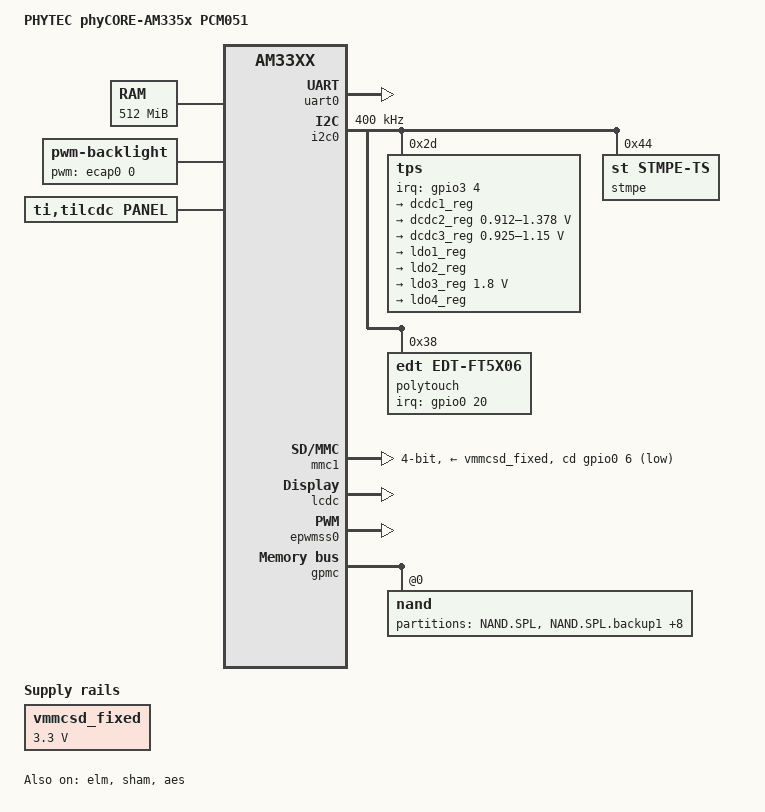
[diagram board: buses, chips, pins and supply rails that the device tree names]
/*
 * Copyright (C) 2015 PHTECH - http://www.phytec.com
 *
 * Copyright (C) 2012 Texas Instruments Incorporated - http://www.ti.com/
 *
 * This program is free software; you can redistribute it and/or modify
 * it under the terms of the GNU General Public License version 2 as
 * published by the Free Software Foundation.
 */
/dts-v1/;

#include "am33xx.dtsi"
#include <dt-bindings/interrupt-controller/irq.h>

/{
	model = "PHYTEC phyCORE-AM335x PCM051";
	compatible = "phytec,pcm051", "ti,am33xx";

	cpus {
		cpu@0 {
			cpu0-supply = <&dcdc2_reg>;
		};
	};

	memory {
		device_type = "memory";
		reg = <0x80000000 0x20000000>;	/* 512 MB */
	};

	vmmcsd_fixed: fixedregulator@0 {
		compatible = "regulator-fixed";
		regulator-name = "vmmcsd_fixed";
		regulator-min-microvolt = <3300000>;
		regulator-max-microvolt = <3300000>;
	};

	backlight {
		compatible = "pwm-backlight";
		pwms = <&ecap0 0 50000 0>;
		brightness-levels = <0 51 53 56 62 75 101 152 255>;
		default-brightness-level = <8>;
	};

	panel {
		compatible = "ti,tilcdc,panel";
		status = "okay";
		panel-info {
			ac-bias           = <255>;
			ac-bias-intrpt    = <0>;
			dma-burst-sz      = <16>;
			bpp               = <32>;
			fdd               = <0x80>;
			sync-edge         = <0>;
			sync-ctrl         = <1>;
			raster-order      = <0>;
			fifo-th           = <0>;
		};

		display-timings {
			800x480p62 {
				clock-frequency = <30000000>;
				hactive = <800>;
				vactive = <480>;
				hfront-porch = <39>;
				hback-porch = <39>;
				hsync-len = <47>;
				vback-porch = <29>;
				vfront-porch = <13>;
				vsync-len = <2>;
				hsync-active = <1>;
				vsync-active = <1>;
			};
		};
	};
};

&am33xx_pinmux {
        pinctrl-names = "default";

	i2c0_pins: pinmux_i2c0_pins {
		pinctrl-single,pins = <
			0x188 (PIN_INPUT_PULLUP | MUX_MODE0)    /* i2c0_sda.i2c0_sda */
			0x18c (PIN_INPUT_PULLUP | MUX_MODE0)    /* i2c0_scl.i2c0_scl */
		>;
	};

	uart0_pins: pinmux_uart0_pins {
		pinctrl-single,pins = <
			0x170 (PIN_INPUT_PULLUP | MUX_MODE0)    /* uart0_rxd.uart0_rxd */
			0x174 (PIN_OUTPUT_PULLDOWN | MUX_MODE0) /* uart0_txd.uart0_txd */
		>;
	};

	nandflash_pins_default: nandflash_pins_default {
		pinctrl-single,pins = <
			0x0 (PIN_INPUT_PULLUP | MUX_MODE0)      /* gpmc_ad0.gpmc_ad0 */
			0x4 (PIN_INPUT_PULLUP | MUX_MODE0)      /* gpmc_ad1.gpmc_ad1 */
			0x8 (PIN_INPUT_PULLUP | MUX_MODE0)      /* gpmc_ad2.gpmc_ad2 */
			0xc (PIN_INPUT_PULLUP | MUX_MODE0)      /* gpmc_ad3.gpmc_ad3 */
			0x10 (PIN_INPUT_PULLUP | MUX_MODE0)     /* gpmc_ad4.gpmc_ad4 */
			0x14 (PIN_INPUT_PULLUP | MUX_MODE0)     /* gpmc_ad5.gpmc_ad5 */
			0x18 (PIN_INPUT_PULLUP | MUX_MODE0)     /* gpmc_ad6.gpmc_ad6 */
			0x1c (PIN_INPUT_PULLUP | MUX_MODE0)     /* gpmc_ad7.gpmc_ad7 */
			0x70 (PIN_INPUT_PULLUP | MUX_MODE0)     /* gpmc_wait0.gpmc_wait0 */
		>;
	};

	nandflash_pins_sleep: nandflash_pins_sleep {
		pinctrl-single,pins = <
			0x0 (PIN_INPUT_PULLDOWN | MUX_MODE7)
			0x4 (PIN_INPUT_PULLDOWN | MUX_MODE7)
			0x8 (PIN_INPUT_PULLDOWN | MUX_MODE7)
			0xc (PIN_INPUT_PULLDOWN | MUX_MODE7)
			0x10 (PIN_INPUT_PULLDOWN | MUX_MODE7)
			0x14 (PIN_INPUT_PULLDOWN | MUX_MODE7)
			0x18 (PIN_INPUT_PULLDOWN | MUX_MODE7)
			0x1c (PIN_INPUT_PULLDOWN | MUX_MODE7)
			0x70 (PIN_INPUT_PULLDOWN | MUX_MODE7)
		>;
	};

        mmc1_pins_default: pinmux_mmc1_pins {
                pinctrl-single,pins = <
                        0x0F0 (PIN_INPUT_PULLUP | MUX_MODE0)    /* mmc0_dat3.mmc0_dat3 */
                        0x0F4 (PIN_INPUT_PULLUP | MUX_MODE0)    /* mmc0_dat2.mmc0_dat2 */
                        0x0F8 (PIN_INPUT_PULLUP | MUX_MODE0)    /* mmc0_dat1.mmc0_dat1 */
                        0x0FC (PIN_INPUT_PULLUP | MUX_MODE0)    /* mmc0_dat0.mmc0_dat0 */
                        0x100 (PIN_INPUT_PULLUP | MUX_MODE0)    /* mmc0_clk.mmc0_clk */
                        0x104 (PIN_INPUT_PULLUP | MUX_MODE0)    /* mmc0_cmd.mmc0_cmd */
                        0x160 (PIN_INPUT | MUX_MODE7)           /* spi0_cs1.gpio0_6 */
                >;
        };

        mmc1_pins_sleep: pinmux_mmc1_pins_sleep {
                pinctrl-single,pins = <
                        0x0F0 (PIN_INPUT_PULLDOWN | MUX_MODE7)
                        0x0F4 (PIN_INPUT_PULLDOWN | MUX_MODE7)
                        0x0F8 (PIN_INPUT_PULLDOWN | MUX_MODE7)
                        0x0FC (PIN_INPUT_PULLDOWN | MUX_MODE7)
                        0x100 (PIN_INPUT_PULLDOWN | MUX_MODE7)
                        0x104 (PIN_INPUT_PULLDOWN | MUX_MODE7)
                        0x1A0 (PIN_INPUT_PULLDOWN | MUX_MODE7)
                >;
        };


	ecap0_pins_default: backlight_pins {
		pinctrl-single,pins = <
			0x164 0x0	/* eCAP0_in_PWM0_out.eCAP0_in_PWM0_out MODE0 */
		>;
	};

	ecap0_pins_sleep: ecap0_pins_sleep {
		pinctrl-single,pins = <
			0x164  (PIN_INPUT_PULLDOWN | MUX_MODE7)	/* eCAP0_in_PWM0_out.eCAP0_in_PWM0_out */
		>;
	};

	lcd_pins_default: lcd_pins_default {
		pinctrl-single,pins = <
			0x20 0x01       /* gpmc_ad8.lcd_data16, OUTPUT | MODE1 */
			0x24 0x01       /* gpmc_ad9.lcd_data17, OUTPUT | MODE1 */
			0x28 0x01       /* gpmc_ad10.lcd_data18, OUTPUT | MODE1 */
			0x2c 0x01       /* gpmc_ad11.lcd_data19, OUTPUT | MODE1 */
			0x30 0x01       /* gpmc_ad12.lcd_data20, OUTPUT | MODE1 */
			0x34 0x01       /* gpmc_ad13.lcd_data21, OUTPUT | MODE1 */
			0x38 0x01       /* gpmc_ad14.lcd_data22, OUTPUT | MODE1 */
			0x3c 0x01       /* gpmc_ad15.lcd_data23, OUTPUT | MODE1 */
			0xa0 0x00       /* lcd_data0.lcd_data0, OUTPUT | MODE0 */
			0xa4 0x00       /* lcd_data1.lcd_data1, OUTPUT | MODE0 */
			0xa8 0x00       /* lcd_data2.lcd_data2, OUTPUT | MODE0 */
			0xac 0x00       /* lcd_data3.lcd_data3, OUTPUT | MODE0 */
			0xb0 0x00       /* lcd_data4.lcd_data4, OUTPUT | MODE0 */
			0xb4 0x00       /* lcd_data5.lcd_data5, OUTPUT | MODE0 */
			0xb8 0x00       /* lcd_data6.lcd_data6, OUTPUT | MODE0 */
			0xbc 0x00       /* lcd_data7.lcd_data7, OUTPUT | MODE0 */
			0xc0 0x00       /* lcd_data8.lcd_data8, OUTPUT | MODE0 */
			0xc4 0x00       /* lcd_data9.lcd_data9, OUTPUT | MODE0 */
			0xc8 0x00       /* lcd_data10.lcd_data10, OUTPUT | MODE0 */
			0xcc 0x00       /* lcd_data11.lcd_data11, OUTPUT | MODE0 */
			0xd0 0x00       /* lcd_data12.lcd_data12, OUTPUT | MODE0 */
			0xd4 0x00       /* lcd_data13.lcd_data13, OUTPUT | MODE0 */
			0xd8 0x00       /* lcd_data14.lcd_data14, OUTPUT | MODE0 */
			0xdc 0x00       /* lcd_data15.lcd_data15, OUTPUT | MODE0 */
			0xe0 0x00       /* lcd_vsync.lcd_vsync, OUTPUT | MODE0 */
			0xe4 0x00       /* lcd_hsync.lcd_hsync, OUTPUT | MODE0 */
			0xe8 0x00       /* lcd_pclk.lcd_pclk, OUTPUT | MODE0 */
			0xec 0x00       /* lcd_ac_bias_en.lcd_ac_bias_en, OUTPUT | MODE0 */
		>;
	};

	lcd_pins_sleep: lcd_pins_sleep {
		pinctrl-single,pins = <
			0x20 (PIN_INPUT_PULLDOWN | MUX_MODE7)   /* gpmc_ad8.lcd_data16 */
			0x24 (PIN_INPUT_PULLDOWN | MUX_MODE7)   /* gpmc_ad9.lcd_data17 */
			0x28 (PIN_INPUT_PULLDOWN | MUX_MODE7)   /* gpmc_ad10.lcd_data18 */
			0x2c (PIN_INPUT_PULLDOWN | MUX_MODE7)   /* gpmc_ad11.lcd_data19 */
			0x30 (PIN_INPUT_PULLDOWN | MUX_MODE7)   /* gpmc_ad12.lcd_data20 */
			0x34 (PIN_INPUT_PULLDOWN | MUX_MODE7)   /* gpmc_ad13.lcd_data21 */
			0x38 (PIN_INPUT_PULLDOWN | MUX_MODE7)   /* gpmc_ad14.lcd_data22 */
			0x3c (PIN_INPUT_PULLDOWN | MUX_MODE7)   /* gpmc_ad15.lcd_data23 */
			0xa0 (PULL_DISABLE | MUX_MODE7)         /* lcd_data0.lcd_data0 */
			0xa4 (PULL_DISABLE | MUX_MODE7)         /* lcd_data1.lcd_data1 */
			0xa8 (PULL_DISABLE | MUX_MODE7)         /* lcd_data2.lcd_data2 */
			0xac (PULL_DISABLE | MUX_MODE7)         /* lcd_data3.lcd_data3 */
			0xb0 (PULL_DISABLE | MUX_MODE7)         /* lcd_data4.lcd_data4 */
			0xb4 (PULL_DISABLE | MUX_MODE7)         /* lcd_data5.lcd_data5 */
			0xb8 (PULL_DISABLE | MUX_MODE7)         /* lcd_data6.lcd_data6 */
			0xbc (PULL_DISABLE | MUX_MODE7)         /* lcd_data7.lcd_data7 */
			0xc0 (PULL_DISABLE | MUX_MODE7)         /* lcd_data8.lcd_data8 */
			0xc4 (PULL_DISABLE | MUX_MODE7)         /* lcd_data9.lcd_data9 */
			0xc8 (PULL_DISABLE | MUX_MODE7)         /* lcd_data10.lcd_data10 */
			0xcc (PULL_DISABLE | MUX_MODE7)         /* lcd_data11.lcd_data11 */
			0xd0 (PULL_DISABLE | MUX_MODE7)         /* lcd_data12.lcd_data12 */
			0xd4 (PULL_DISABLE | MUX_MODE7)         /* lcd_data13.lcd_data13 */
			0xd8 (PULL_DISABLE | MUX_MODE7)         /* lcd_data14.lcd_data14 */
			0xdc (PULL_DISABLE | MUX_MODE7)         /* lcd_data15.lcd_data15 */
			0xe0 (PIN_INPUT_PULLDOWN | MUX_MODE7)   /* lcd_vsync.lcd_vsync, OUTPUT | MODE0 */
			0xe4 (PIN_INPUT_PULLDOWN | MUX_MODE7)   /* lcd_hsync.lcd_hsync */
			0xe8 (PIN_INPUT_PULLDOWN | MUX_MODE7)   /* lcd_pclk.lcd_pclk */
			0xec (PIN_INPUT_PULLDOWN | MUX_MODE7)   /* lcd_ac_bias_en.lcd_ac_bias_en */
		>;
	};

};

&uart0 {
	pinctrl-names = "default";
	pinctrl-0 = <&uart0_pins>;

	status = "okay";
};

&i2c0 {
	pinctrl-names = "default";
	pinctrl-0 = <&i2c0_pins>;

	status = "okay";
	clock-frequency = <400000>;

	tps: tps@2d {
		reg = <0x2d>;
		interrupt-parent = <&gpio3>;
		interrupts = <4 0>;
		irq = <&gpio3 4 GPIO_ACTIVE_HIGH>;
	};
	
	stmpe: stmpe_touchscreen@44 {
		compatible = "st,stmpe-ts";
		reg = <0x44>;
		ts,sample-time = <4>;
		ts,mod-12b = <1>;
		ts,ref-sel = <0>;
		ts,adc-freq = <1>;
		ts,ave-ctrl = <3>;
		ts,touch-det-delay = <3>;
		ts,settling = <3>;
		ts,fraction-z = <7>;
		ts,i-drive = <0>;
	};

	polytouch: edt-ft5x06@38 {
		compatible = "edt,edt-ft5x06";
		reg = <0x38>;
		interrupt-parent = <&gpio0>;
		interrupts = <20 0>;
		irq-gpio =  <&gpio0 20 GPIO_ACTIVE_HIGH>;
	};
};

&mmc1 {
        status = "okay";
        bus-width = <0x4>;
        pinctrl-names = "default";
	vmmc-supply = <&vmmcsd_fixed>;
        pinctrl-0 = <&mmc1_pins_default>;
        cd-gpios = <&gpio0 6 GPIO_ACTIVE_HIGH>;
	cd-inverted;
};

&lcdc {
	status = "okay";
	pinctrl-names = "default", "sleep";
	pinctrl-0 = <&lcd_pins_default>;
	pinctrl-1 = <&lcd_pins_sleep>;
};

&elm {
	status = "okay";
};

&epwmss0 {
	status = "okay";

	ecap0: ecap@48300100 {
		status = "okay";
		pinctrl-names = "default", "sleep";
		pinctrl-0 = <&ecap0_pins_default>;
		pinctrl-1 = <&ecap0_pins_sleep>;
	};
};

&edma {
	ti,edma-xbar-event-map = /bits/ 16 <1 12
					    2 13>;
};


&sham {
	status = "okay";
};

&aes {
	status = "okay";
};

&gpmc {
        status = "okay";
        pinctrl-names = "default", "sleep";
        pinctrl-0 = <&nandflash_pins_default>;
        pinctrl-1 = <&nandflash_pins_sleep>;
        ranges = <0 0 0x08000000 0x10000000>;   /* CS0: NAND */
        nand@0,0 {
                reg = <0 0 0>; /* CS0, offset 0 */
                ti,nand-ecc-opt = "bch8";
                ti,elm-id = <&elm>;
                nand-bus-width = <8>;
                gpmc,device-width = <1>;
                gpmc,sync-clk-ps = <0>;
                gpmc,cs-on-ns = <0>;
                gpmc,cs-rd-off-ns = <30>;
                gpmc,cs-wr-off-ns = <30>;
                gpmc,adv-on-ns = <0>;
                gpmc,adv-rd-off-ns = <30>;
                gpmc,adv-wr-off-ns = <30>;
                gpmc,we-on-ns = <0>;
                gpmc,we-off-ns = <20>;
                gpmc,oe-on-ns = <10>;
                gpmc,oe-off-ns = <30>;
                gpmc,access-ns = <30>;
                gpmc,rd-cycle-ns = <30>;
                gpmc,wr-cycle-ns = <30>;
                gpmc,wait-on-read = "true";
                gpmc,wait-on-write = "true";
                gpmc,bus-turnaround-ns = <0>;
                gpmc,cycle2cycle-delay-ns = <50>;
                gpmc,clk-activation-ns = <0>;
                gpmc,wait-monitoring-ns = <0>;
                gpmc,wr-access-ns = <30>;
                gpmc,wr-data-mux-bus-ns = <0>;
		/* MTD partition table */
		/* All SPL-* partitions are sized to minimal length
		 * which can be independently programmable. For
		 * NAND flash this is equal to size of erase-block */
		#address-cells = <1>;
		#size-cells = <1>;
		partition@0 {
			label = "NAND.SPL";
			reg = <0x00000000 0x000020000>;
		};
		partition@1 {
			label = "NAND.SPL.backup1";
			reg = <0x00020000 0x00020000>;
		};
		partition@2 {
			label = "NAND.SPL.backup2";
			reg = <0x00040000 0x00020000>;
		};
		partition@3 {
			label = "NAND.SPL.backup3";
			reg = <0x00060000 0x00020000>;
		};
		partition@4 {
			label = "NAND.u-boot-spl-os";
			reg = <0x00080000 0x00040000>;
		};
		partition@5 {
			label = "NAND.u-boot";
			reg = <0x000C0000 0x00100000>;
		};
		partition@6 {
			label = "NAND.u-boot-env";
			reg = <0x001C0000 0x00020000>;
		};
		partition@7 {
			label = "NAND.u-boot-env.backup1";
			reg = <0x001E0000 0x00020000>;
		};
		partition@8 {
			label = "NAND.kernel";
			reg = <0x00200000 0x00800000>;
		};
		partition@9 {
			label = "NAND.file-system";
			reg = <0x00A00000 0x0F600000>;
		};
	};
};

/include/ "tps65910.dtsi"

&tps {
	regulators {
		dcdc1_reg: regulator@0 {
			regulator-name = "vdds_dpr";
			regulator-always-on;
		};

		dcdc2_reg: regulator@1 {
			/* VDD_MPU voltage limits 0.95V - 1.26V with +/-4% tolerance */
			regulator-name = "vdd_mpu";
			regulator-min-microvolt = <912500>;
			regulator-max-microvolt = <1378000>; 
			regulator-boot-on;
			regulator-always-on;
		};

		dcdc3_reg: regulator@2 {
			/* VDD_CORE voltage limits 0.95V - 1.1V with +/-4% tolerance */
			regulator-name = "vdd_core";
			regulator-min-microvolt = <925000>;
			regulator-max-microvolt = <1150000>;
			regulator-boot-on;
			regulator-always-on;
		};

		ldo1_reg: regulator@3 {
			regulator-name = "vio,vrtc,vdds";
			regulator-always-on;
		};

		ldo2_reg: regulator@4 {
			regulator-name = "vdd_3v3aux";
			regulator-always-on;
		};

		ldo3_reg: regulator@5 {
			regulator-name = "vdd_1v8";
			regulator-min-microvolt = <1800000>;
			regulator-max-microvolt = <1800000>;
			regulator-always-on;
		};

		ldo4_reg: regulator@6 {
			regulator-name = "vdd_3v3a";
			regulator-always-on;
		};

	};
};


